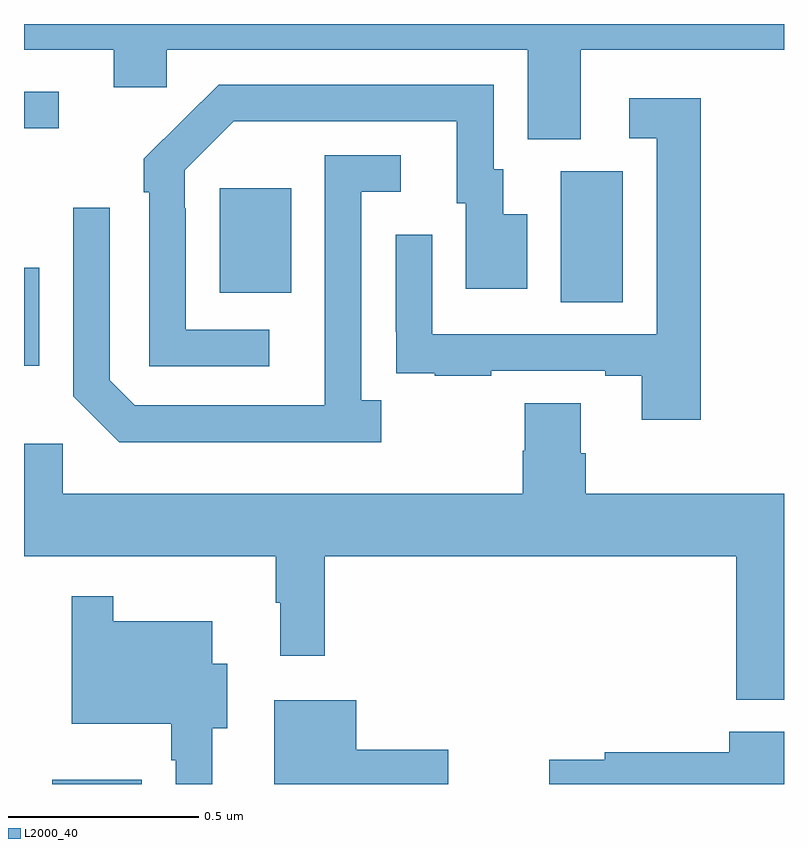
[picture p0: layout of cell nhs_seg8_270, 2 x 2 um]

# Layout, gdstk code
import gdstk
lib = gdstk.Library(unit=1e-6, precision=1e-09)
def R(c, l, rs):  # rectangles x0, y0, x1, y1
    for r in rs: c.add(gdstk.rectangle(r[:2], r[2:], *l))
def P(c, l, *ps):  # polygons
    for p in ps: c.add(gdstk.Polygon(p, *l))
L2000_40 = (2000, 40)

nhs_seg8_270 = lib.new_cell('nhs_seg8_270')
R(nhs_seg8_270, L2000_40, [(114.074,1115.9,114.31,1115.911), (114,1117.001,114.04,1117.258), (115.412,1117.168,115.576,1117.512), (114.515,1117.193,114.703,1117.468), (114,1117.626,114.091,1117.722)])
P(nhs_seg8_270, L2000_40, [(115.465,1117.832),(116,1117.832),(116,1117.9),(114,1117.9),(114,1117.832),(114.236,1117.832),(114.236,1117.734),(114.375,1117.734),(114.375,1117.832),(115.325,1117.832),(115.325,1117.597),(115.465,1117.597)],
  [(114.646,1117.095),(114.426,1117.095),(114.426,1117.415),(114.423,1117.415),(114.423,1117.515),(114.552,1117.644),(115.139,1117.644),(115.139,1117.428),(115.163,1117.428),(115.163,1117.203),(115.324,1117.203),(115.324,1117.399),(115.261,1117.399),(115.261,1117.518),(115.236,1117.518),(115.236,1117.74),(114.512,1117.74),(114.421,1117.649),(114.42,1117.65),(114.315,1117.545),(114.315,1117.457),(114.33,1117.457),(114.33,1116.999),(114.646,1116.999)],
  [(115.781,1117.705),(115.593,1117.705),(115.593,1117.599),(115.665,1117.599),(115.665,1117.083),(115.074,1117.083),(115.074,1117.345),(114.978,1117.345),(114.978,1117.09),(114.979,1117.09),(114.979,1116.981),(115.081,1116.981),(115.081,1116.975),(115.229,1116.975),(115.229,1116.987),(115.529,1116.987),(115.529,1116.975),(115.625,1116.975),(115.625,1116.858),(115.781,1116.858)],
  [(114.94,1116.91),(114.888,1116.91),(114.888,1117.458),(114.991,1117.458),(114.991,1117.554),(114.792,1117.554),(114.792,1117.097),(114.791,1117.097),(114.791,1116.897),(114.291,1116.897),(114.225,1116.963),(114.225,1117.417),(114.129,1117.417),(114.129,1116.921),(114.25,1116.8),(114.94,1116.8)],
  [(116,1116.664),(115.478,1116.664),(115.478,1116.77),(115.465,1116.77),(115.465,1116.902),(115.318,1116.902),(115.318,1116.777),(115.313,1116.777),(115.313,1116.664),(114.102,1116.664),(114.102,1116.796),(114,1116.796),(114,1116.5),(114.663,1116.5),(114.663,1116.377),(114.674,1116.377),(114.674,1116.237),(114.791,1116.237),(114.791,1116.5),(115.874,1116.5),(115.874,1116.122),(116,1116.122)],
  [(114.496,1116.047),(114.535,1116.047),(114.535,1116.217),(114.496,1116.217),(114.496,1116.328),(114.235,1116.328),(114.235,1116.394),(114.126,1116.394),(114.126,1116.059),(114.387,1116.059),(114.387,1115.963),(114.399,1115.963),(114.399,1115.9),(114.496,1115.9)],
  [(115.117,1115.99),(114.874,1115.99),(114.874,1116.121),(114.659,1116.121),(114.659,1115.9),(115.117,1115.9)],
  [(116,1116.037),(115.856,1116.037),(115.856,1115.984),(115.528,1115.984),(115.528,1115.964),(115.382,1115.964),(115.382,1115.9),(116,1115.9)])

lib.write_gds('nhs_seg8_270.gds')
